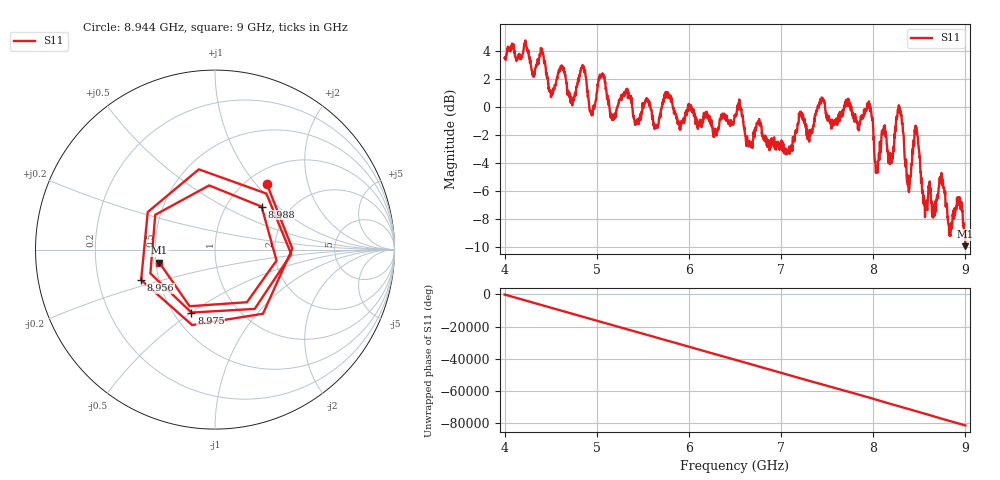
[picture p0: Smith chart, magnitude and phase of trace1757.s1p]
! Created with skrf 1.8.0 (http://scikit-rf.org).
# Hz S RI R 50.0
!freq ReS11 ImS11
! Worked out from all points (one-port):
!   1601 points, 4 GHz to 9 GHz, reference 50 ohm
!   lowest |S11| = -10.0 dB at 9 GHz (marker M1), VSWR 1.93, Z = 26.1 - j4.27 ohm
!   |S11| at or under -10 dB: nowhere
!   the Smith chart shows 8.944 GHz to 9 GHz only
!   S11 on the Smith chart (normalised r, x): 8.944 GHz: 1.23, +1.14; 8.956 GHz: 0.40, -0.17; 8.975 GHz: 0.61, -0.50; 8.988 GHz: 1.45, +0.79; 9 GHz: 0.52, -0.09
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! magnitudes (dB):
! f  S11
! 4 GHz  3.5
! 4.4 GHz  4.0
! 4.509 GHz  0.8
! 4.625 GHz  2.8
! 4.731 GHz  0.5
! 4.853 GHz  2.8
! 4.944 GHz  -0.6
! 5.05 GHz  2.1
! 5.169 GHz  -0.9
! 5.25 GHz  0.5
! 5.875 GHz  -1.1
! 6.5 GHz  -0.7
! 7.125 GHz  -2.4
! 7.441 GHz  0.7
! 7.75 GHz  0.3
! 7.959 GHz  -0.1
! 8.041 GHz  -4.5
! 8.116 GHz  -1.4
! 8.2 GHz  -4.0
! 8.288 GHz  -0.1
! 8.375 GHz  -5.6
! 8.466 GHz  -1.4
! 8.562 GHz  -7.9
! 8.944 GHz  -6.6
! 8.956 GHz  -7.0
! 8.975 GHz  -8.5
! 8.988 GHz  -9.0
! 9 GHz  -10.0
